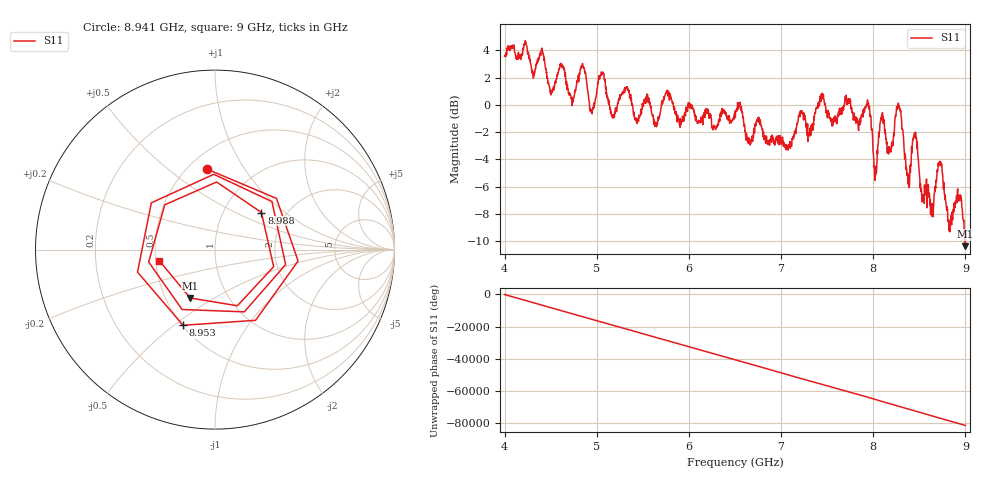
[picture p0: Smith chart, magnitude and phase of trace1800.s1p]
! Created with skrf 1.8.0 (http://scikit-rf.org).
# Hz S RI R 50.0
!freq ReS11 ImS11
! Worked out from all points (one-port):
!   1601 points, 4 GHz to 9 GHz, reference 50 ohm
!   lowest |S11| = -10.4 dB at 8.997 GHz (marker M1), VSWR 1.87, Z = 33.2 - j19.7 ohm
!   |S11| at or under -10 dB: 8.995785 GHz to end of sweep
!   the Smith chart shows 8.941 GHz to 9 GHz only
!   S11 on the Smith chart (normalised r, x): 8.941 GHz: 0.62, +0.69; 8.953 GHz: 0.51, -0.54; 8.988 GHz: 1.50, +0.70; 9 GHz: 0.52, -0.07
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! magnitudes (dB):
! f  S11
! 4 GHz  3.6
! 4.509 GHz  1.0
! 4.625 GHz  2.8
! 4.731 GHz  -0.1
! 4.856 GHz  2.8
! 4.944 GHz  -0.5
! 5.053 GHz  2.3
! 5.166 GHz  -0.9
! 5.25 GHz  0.7
! 5.875 GHz  -1.0
! 6.5 GHz  -0.4
! 7.125 GHz  -2.5
! 7.75 GHz  0.3
! 7.95 GHz  0.0
! 8.022 GHz  -5.2
! 8.091 GHz  -0.7
! 8.178 GHz  -3.2
! 8.278 GHz  0.0
! 8.375 GHz  -5.3
! 8.453 GHz  -2.1
! 8.631 GHz  -7.8
! 8.719 GHz  -4.3
! 8.825 GHz  -9.3
! 8.941 GHz  -6.9
! 8.953 GHz  -6.8
! 8.988 GHz  -9.6
! 8.997 GHz  -10.4
! 9 GHz  -10.0
